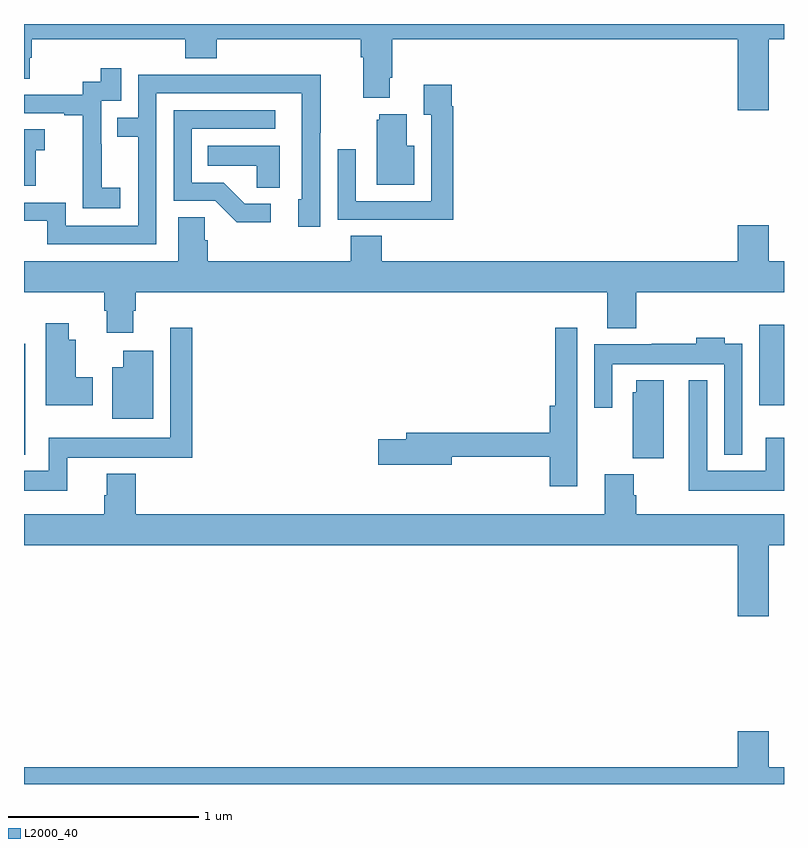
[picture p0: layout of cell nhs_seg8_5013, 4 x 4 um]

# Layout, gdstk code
import gdstk
lib = gdstk.Library(unit=1e-6, precision=1e-09)
def R(c, l, rs):  # rectangles x0, y0, x1, y1
    for r in rs: c.add(gdstk.rectangle(r[:2], r[2:], *l))
def P(c, l, *ps):  # polygons
    for p in ps: c.add(gdstk.Polygon(p, *l))
L2000_40 = (2000, 40)

nhs_seg8_5013 = lib.new_cell('nhs_seg8_5013')
R(nhs_seg8_5013, L2000_40, [(413,1127.633,413.007,1128.217), (416.87,1127.894,417,1128.316)])
P(nhs_seg8_5013, L2000_40, [(416.92,1129.82),(417,1129.82),(417,1129.9),(413,1129.9),(413,1129.612),(413.029,1129.612),(413.029,1129.722),(413.042,1129.722),(413.042,1129.82),(413.849,1129.82),(413.849,1129.721),(414.014,1129.721),(414.014,1129.82),(414.773,1129.82),(414.773,1129.724),(414.785,1129.724),(414.785,1129.511),(414.925,1129.511),(414.925,1129.618),(414.938,1129.618),(414.938,1129.82),(416.756,1129.82),(416.756,1129.446),(416.92,1129.446)],
  [(413.506,1129.039),(413.408,1129.039),(413.408,1129.268),(413.406,1129.268),(413.406,1129.497),(413.511,1129.497),(413.511,1129.666),(413.403,1129.666),(413.403,1129.596),(413.31,1129.596),(413.31,1129.527),(413,1129.527),(413,1129.431),(413.213,1129.431),(413.213,1129.419),(413.309,1129.419),(413.309,1129.135),(413.308,1129.135),(413.308,1128.929),(413.506,1128.929)],
  [(413.697,1129.536),(414.462,1129.536),(414.462,1128.978),(414.443,1128.978),(414.443,1128.834),(414.558,1128.834),(414.558,1129.327),(414.561,1129.327),(414.561,1129.634),(414.097,1129.634),(414.097,1129.632),(413.601,1129.632),(413.601,1129.407),(413.491,1129.407),(413.491,1129.306),(413.601,1129.306),(413.601,1128.837),(413.22,1128.837),(413.22,1128.96),(413,1128.96),(413,1128.864),(413.123,1128.864),(413.123,1128.741),(413.697,1128.741)],
  [(415.259,1129.466),(415.252,1129.466),(415.252,1129.579),(415.103,1129.579),(415.103,1129.423),(415.143,1129.423),(415.143,1128.966),(414.747,1128.966),(414.747,1129.24),(414.651,1129.24),(414.651,1128.87),(414.967,1128.87),(414.967,1128.869),(415.259,1128.869)],
  [(414.298,1128.954),(414.163,1128.954),(414.052,1129.065),(413.883,1129.065),(413.883,1129.35),(414.322,1129.35),(414.322,1129.446),(413.787,1129.446),(413.787,1128.969),(414.006,1128.969),(414.119,1128.857),(414.298,1128.857)],
  [(415.054,1129.258),(415.015,1129.258),(415.015,1129.426),(414.869,1129.426),(414.869,1129.395),(414.857,1129.395),(414.857,1129.055),(415.054,1129.055)],
  [(413.061,1129.235),(413.11,1129.235),(413.11,1129.345),(413,1129.345),(413,1129.05),(413.061,1129.05)],
  [(414.346,1129.258),(413.968,1129.258),(413.968,1129.154),(414.225,1129.154),(414.225,1129.039),(414.346,1129.039)],
  [(413.575,1128.39),(413.588,1128.39),(413.588,1128.488),(416.069,1128.488),(416.069,1128.299),(416.222,1128.299),(416.222,1128.488),(417,1128.488),(417,1128.652),(416.92,1128.652),(416.92,1128.841),(416.756,1128.841),(416.756,1128.652),(414.884,1128.652),(414.884,1128.785),(414.719,1128.785),(414.719,1128.652),(413.966,1128.652),(413.966,1128.761),(413.952,1128.761),(413.952,1128.884),(413.813,1128.884),(413.813,1128.652),(413,1128.652),(413,1128.488),(413.423,1128.488),(413.423,1128.39),(413.435,1128.39),(413.435,1128.276),(413.575,1128.276)],
  [(413.362,1128.042),(413.272,1128.042),(413.272,1128.238),(413.236,1128.238),(413.236,1128.325),(413.114,1128.325),(413.114,1127.894),(413.362,1127.894)],
  [(415.912,1127.727),(415.911,1127.727),(415.911,1128.301),(415.795,1128.301),(415.795,1127.89),(415.766,1127.89),(415.766,1127.75),(415.013,1127.75),(415.013,1127.714),(414.864,1127.714),(414.864,1127.579),(415.252,1127.579),(415.252,1127.622),(415.766,1127.622),(415.766,1127.466),(415.912,1127.466)],
  [(413.228,1127.618),(413.762,1127.618),(413.762,1127.616),(413.885,1127.616),(413.885,1128.301),(413.769,1128.301),(413.769,1127.722),(413.13,1127.722),(413.13,1127.548),(413,1127.548),(413,1127.444),(413.228,1127.444)],
  [(416.781,1128.217),(416.689,1128.217),(416.689,1128.25),(416.537,1128.25),(416.537,1128.217),(416.305,1128.217),(416.305,1128.214),(416.001,1128.214),(416.001,1127.88),(416.097,1127.88),(416.097,1128.11),(416.685,1128.11),(416.685,1127.633),(416.781,1127.633)],
  [(413.68,1128.181),(413.522,1128.181),(413.522,1128.094),(413.465,1128.094),(413.465,1127.822),(413.68,1127.822)],
  [(417,1127.722),(416.904,1127.722),(416.904,1127.548),(416.595,1127.548),(416.595,1128.025),(416.498,1128.025),(416.498,1127.444),(417,1127.444)],
  [(416.368,1128.025),(416.222,1128.025),(416.222,1127.961),(416.204,1127.961),(416.204,1127.614),(416.368,1127.614)],
  [(416.92,1127.156),(417,1127.156),(417,1127.32),(416.222,1127.32),(416.222,1127.42),(416.209,1127.42),(416.209,1127.529),(416.057,1127.529),(416.057,1127.32),(413.588,1127.32),(413.588,1127.533),(413.435,1127.533),(413.435,1127.421),(413.423,1127.421),(413.423,1127.32),(413,1127.32),(413,1127.156),(416.756,1127.156),(416.756,1126.782),(416.92,1126.782)],
  [(416.756,1126.177),(416.756,1125.988),(413,1125.988),(413,1125.9),(417,1125.9),(417,1125.988),(416.92,1125.988),(416.92,1126.177)])

lib.write_gds('nhs_seg8_5013.gds')
